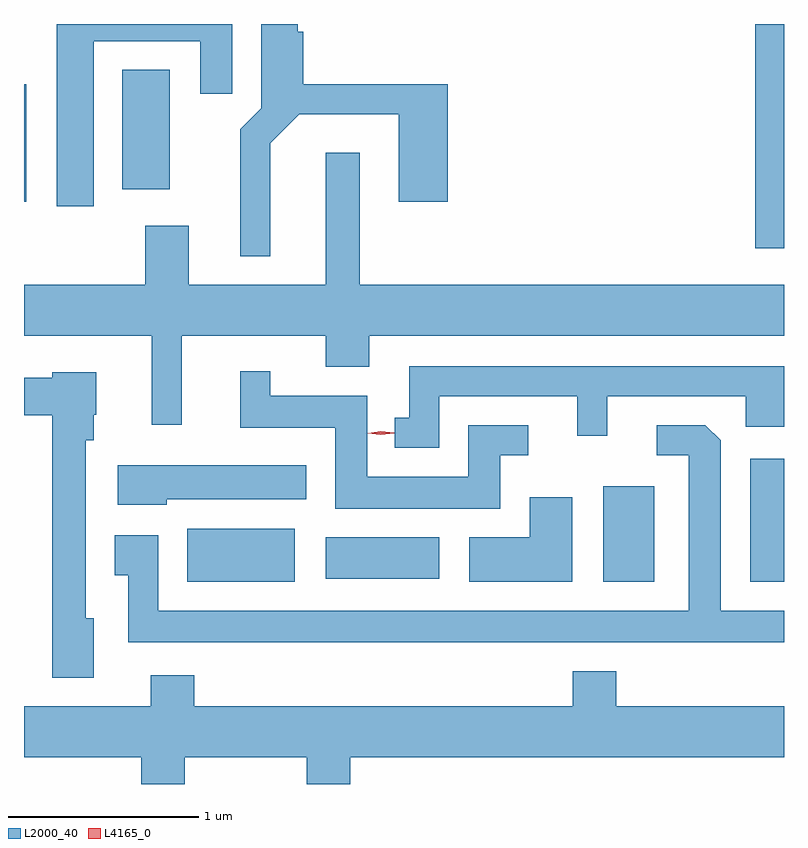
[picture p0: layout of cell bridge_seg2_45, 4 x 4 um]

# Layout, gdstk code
import gdstk
lib = gdstk.Library(unit=1e-6, precision=1e-09)
def R(c, l, rs):  # rectangles x0, y0, x1, y1
    for r in rs: c.add(gdstk.rectangle(r[:2], r[2:], *l))
def P(c, l, *ps):  # polygons
    for p in ps: c.add(gdstk.Polygon(p, *l))
L2000_40 = (2000, 40)
L4165_0 = (4165, 0)

bridge_seg2_45 = lib.new_cell('bridge_seg2_45')
R(bridge_seg2_45, L2000_40, [(1406.291,1051.461,1406.859,1051.739), (1408.481,1051.461,1408.749,1051.964), (1409.256,1051.461,1409.433,1052.109), (1407.021,1051.476,1407.619,1051.694), (1409.281,1053.216,1409.433,1054.396), (1405.433,1053.461,1405.444,1054.079), (1405.951,1053.526,1406.199,1054.154)])
P(bridge_seg2_45, L2000_40, [(1406.729,1053.769),(1406.882,1053.921),(1407.406,1053.921),(1407.406,1053.461),(1407.664,1053.461),(1407.664,1054.079),(1406.904,1054.079),(1406.904,1054.354),(1406.874,1054.354),(1406.874,1054.396),(1406.681,1054.396),(1406.681,1053.952),(1406.571,1053.842),(1406.571,1053.173),(1406.729,1053.173)],
  [(1405.799,1054.306),(1406.361,1054.306),(1406.361,1054.028),(1406.529,1054.028),(1406.529,1054.396),(1405.606,1054.396),(1405.606,1053.436),(1405.799,1053.436)],
  [(1406.264,1052.756),(1407.021,1052.756),(1407.021,1052.591),(1407.249,1052.591),(1407.249,1052.756),(1409.433,1052.756),(1409.433,1053.024),(1407.199,1053.024),(1407.199,1053.719),(1407.021,1053.719),(1407.021,1053.024),(1406.299,1053.024),(1406.299,1053.334),(1406.071,1053.334),(1406.071,1053.024),(1405.433,1053.024),(1405.433,1052.756),(1406.106,1052.756),(1406.106,1052.288),(1406.264,1052.288)],
  [(1407.619,1052.436),(1408.346,1052.436),(1408.346,1052.228),(1408.504,1052.228),(1408.504,1052.436),(1409.231,1052.436),(1409.231,1052.276),(1409.433,1052.276),(1409.433,1052.594),(1407.461,1052.594),(1407.461,1052.324),(1407.383,1052.324),(1407.383,1052.166),(1407.619,1052.166)],
  [(1407.939,1052.126),(1408.088,1052.126),(1408.088,1052.284),(1407.771,1052.284),(1407.771,1052.014),(1407.239,1052.014),(1407.239,1052.439),(1406.729,1052.439),(1406.729,1052.568),(1406.571,1052.568),(1406.571,1052.271),(1407.071,1052.271),(1407.071,1051.846),(1407.939,1051.846)],
  [(1405.799,1051.269),(1405.759,1051.269),(1405.759,1052.206),(1405.799,1052.206),(1405.799,1052.34),(1405.814,1052.34),(1405.814,1052.564),(1405.581,1052.564),(1405.581,1052.534),(1405.433,1052.534),(1405.433,1052.336),(1405.581,1052.336),(1405.581,1050.956),(1405.799,1050.956)],
  [(1409.433,1051.309),(1409.099,1051.309),(1409.099,1052.204),(1409.019,1052.284),(1408.763,1052.284),(1408.763,1052.126),(1408.931,1052.126),(1408.931,1051.309),(1406.139,1051.309),(1406.139,1051.704),(1405.911,1051.704),(1405.911,1051.496),(1405.981,1051.496),(1405.981,1051.141),(1409.433,1051.141)],
  [(1406.184,1051.896),(1406.919,1051.896),(1406.919,1052.074),(1405.926,1052.074),(1405.926,1051.866),(1406.184,1051.866)],
  [(1408.319,1051.904),(1408.096,1051.904),(1408.096,1051.694),(1407.776,1051.694),(1407.776,1051.461),(1408.319,1051.461)],
  [(1406.329,1050.969),(1406.101,1050.969),(1406.101,1050.804),(1405.433,1050.804),(1405.433,1050.536),(1406.051,1050.536),(1406.051,1050.396),(1406.279,1050.396),(1406.279,1050.536),(1406.921,1050.536),(1406.921,1050.396),(1407.149,1050.396),(1407.149,1050.536),(1409.433,1050.536),(1409.433,1050.804),(1408.549,1050.804),(1408.549,1050.989),(1408.321,1050.989),(1408.321,1050.804),(1406.329,1050.804)])
P(bridge_seg2_45, L4165_0, [(1407.311,1052.233),(1407.242,1052.242),(1407.242,1052.243),(1407.242,1052.243),(1407.311,1052.253),(1407.381,1052.244),(1407.381,1052.244),(1407.381,1052.243)])

lib.write_gds('bridge_seg2_45.gds')
